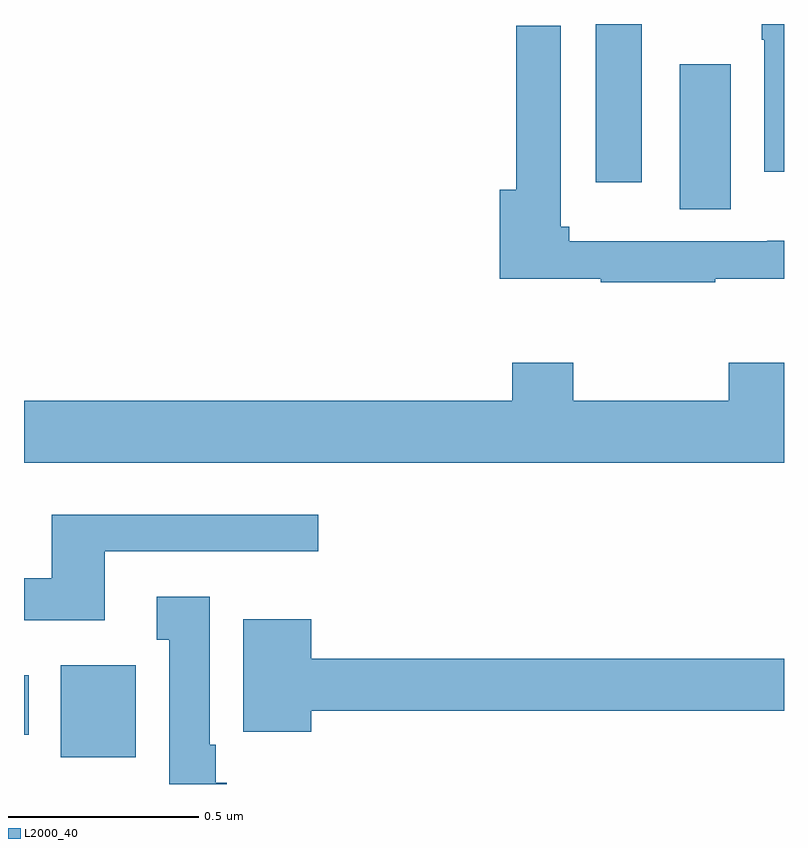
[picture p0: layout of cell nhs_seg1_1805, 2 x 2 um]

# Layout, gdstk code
import gdstk
lib = gdstk.Library(unit=1e-6, precision=1e-09)
def R(c, l, rs):  # rectangles x0, y0, x1, y1
    for r in rs: c.add(gdstk.rectangle(r[:2], r[2:], *l))
def P(c, l, *ps):  # polygons
    for p in ps: c.add(gdstk.Polygon(p, *l))
L2000_40 = (2000, 40)

nhs_seg1_1805 = lib.new_cell('nhs_seg1_1805')
R(nhs_seg1_1805, L2000_40, [(133.097,572.27,133.294,572.512), (133,572.329,133.012,572.485), (134.726,573.712,134.86,574.093), (134.504,573.783,134.626,574.199)])
P(nhs_seg1_1805, L2000_40, [(135,574.199),(134.941,574.199),(134.941,574.157),(134.948,574.157),(134.948,573.81),(135,573.81)],
  [(134.819,573.529),(135,573.529),(135,573.629),(134.956,573.629),(134.956,573.627),(134.435,573.627),(134.435,573.666),(134.412,573.666),(134.412,574.195),(134.296,574.195),(134.296,573.763),(134.252,573.763),(134.252,573.529),(134.518,573.529),(134.518,573.519),(134.819,573.519)],
  [(135,573.307),(134.854,573.307),(134.854,573.208),(134.445,573.208),(134.445,573.307),(134.285,573.307),(134.285,573.208),(133,573.208),(133,573.044),(135,573.044)],
  [(133.213,572.811),(133.774,572.811),(133.774,572.908),(133.073,572.908),(133.073,572.74),(133,572.74),(133,572.63),(133.213,572.63)],
  [(133.534,572.202),(133.504,572.202),(133.504,572.302),(133.489,572.302),(133.489,572.692),(133.349,572.692),(133.349,572.579),(133.382,572.579),(133.382,572.199),(133.534,572.199)],
  [(133.756,572.392),(135,572.392),(135,572.528),(133.756,572.528),(133.756,572.632),(133.577,572.632),(133.577,572.336),(133.756,572.336)])

lib.write_gds('nhs_seg1_1805.gds')
